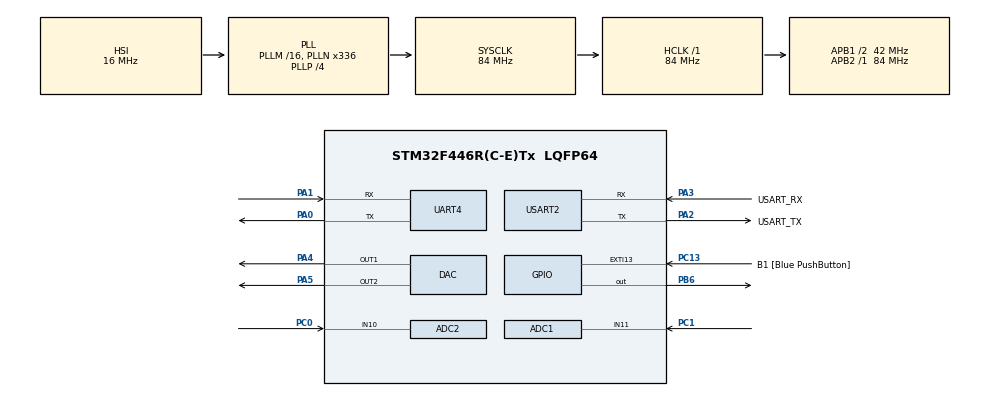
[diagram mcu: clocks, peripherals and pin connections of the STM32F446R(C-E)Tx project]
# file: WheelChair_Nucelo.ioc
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ADC1.Channel-1\#ChannelRegularConversion=ADC_CHANNEL_11
ADC1.NbrOfConversionFlag=1
ADC1.Rank-1\#ChannelRegularConversion=1
ADC1.SamplingTime-1\#ChannelRegularConversion=ADC_SAMPLETIME_3CYCLES
ADC1.master=1
ADC2.Channel-2\#ChannelRegularConversion=ADC_CHANNEL_10
ADC2.NbrOfConversionFlag=1
ADC2.Rank-2\#ChannelRegularConversion=1
ADC2.SamplingTime-2\#ChannelRegularConversion=ADC_SAMPLETIME_3CYCLES
Mcu.Family=STM32F4
Mcu.Name=STM32F446R(C-E)Tx
Mcu.Package=LQFP64
NVIC.PriorityGroup=NVIC_PRIORITYGROUP_4
NVIC.TIM6_DAC_IRQn=true\:0\:0\:false\:false\:true\:false\:true
NVIC.TimeBase=TIM6_DAC_IRQn
NVIC.TimeBaseIP=TIM6
PA0-WKUP.Mode=Asynchronous
PA0-WKUP.Signal=UART4_TX
PA1.Mode=Asynchronous
PA1.Signal=UART4_RX
PA13.GPIO_Label=TMS
PA13.Mode=Serial_Wire
PA13.Signal=SYS_JTMS-SWDIO
PA14.GPIO_Label=TCK
PA14.Mode=Serial_Wire
PA14.Signal=SYS_JTCK-SWCLK
PA2.GPIO_Label=USART_TX
PA2.Mode=Asynchronous
PA2.Signal=USART2_TX
PA3.GPIO_Label=USART_RX
PA3.Mode=Asynchronous
PA3.Signal=USART2_RX
PA4.Signal=COMP_DAC1_group
PA5.Signal=COMP_DAC2_group
PB3.GPIO_Label=SWO
PB3.Signal=SYS_JTDO-SWO
PB6.Signal=GPIO_Output
PC0.Signal=ADCx_IN10
PC1.Signal=ADCx_IN11
PC13.GPIO_Label=B1 [Blue PushButton]
PC13.GPIO_ModeDefaultEXTI=GPIO_MODE_IT_FALLING
PC13.Signal=GPXTI13
PC14-OSC32_IN.Mode=LSE-External-Oscillator
PC14-OSC32_IN.Signal=RCC_OSC32_IN
PC15-OSC32_OUT.Mode=LSE-External-Oscillator
PC15-OSC32_OUT.Signal=RCC_OSC32_OUT
PH0-OSC_IN.Mode=HSE-External-Oscillator
PH0-OSC_IN.Signal=RCC_OSC_IN
PH1-OSC_OUT.Mode=HSE-External-Oscillator
PH1-OSC_OUT.Signal=RCC_OSC_OUT
ProjectManager.HeapSize=0x200
ProjectManager.StackSize=0x400
ProjectManager.TargetToolchain=STM32CubeIDE
RCC.48MHZClocksFreq_Value=84000000
RCC.AHBFreq_Value=84000000
RCC.APB1CLKDivider=RCC_HCLK_DIV2
RCC.APB1Freq_Value=42000000
RCC.APB1TimFreq_Value=84000000
RCC.APB2Freq_Value=84000000
RCC.APB2TimFreq_Value=84000000
RCC.CortexFreq_Value=84000000
RCC.FLatency-AdvancedSettings=FLASH_LATENCY_2
RCC.HCLKFreq_Value=84000000
RCC.HSE_VALUE=8000000
RCC.HSI_VALUE=16000000
RCC.PLLN=336
RCC.PLLP=RCC_PLLP_DIV4
RCC.SYSCLKFreq_VALUE=84000000
RCC.SYSCLKSource=RCC_SYSCLKSOURCE_PLLCLK
RCC.USBFreq_Value=168000000
RCC.VCOOutputFreq_Value=336000000
SH.ADCx_IN10.0=ADC2_IN10,IN10
SH.ADCx_IN11.0=ADC1_IN11,IN11
SH.COMP_DAC1_group.0=DAC_OUT1,DAC_OUT1
SH.COMP_DAC2_group.0=DAC_OUT2,DAC_OUT2
UART4.VirtualMode=Asynchronous
USART2.VirtualMode=VM_ASYNC
VP_SYS_VS_tim6.Mode=TIM6
board=NUCLEO-F446RE

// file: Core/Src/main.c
/* USER CODE BEGIN Header */
/**
  ******************************************************************************
  * @file           : main.c
  * @brief          : Main program body
  ******************************************************************************
  * @attention
  *
  * <h2><center>&copy; Copyright (c) 2021 STMicroelectronics.
  * All rights reserved.</center></h2>
  *
  * This software component is licensed by ST under BSD 3-Clause license,
  * the "License"; You may not use this file except in compliance with the
  * License. You may obtain a copy of the License at:
  *                        opensource.org/licenses/BSD-3-Clause
  *
  ******************************************************************************
  */
/* USER CODE END Header */

#include "main.h"

/* USER CODE BEGIN Includes */
#include <stdio.h>
#include <stdint.h>
#include <string.h>
#include <stdbool.h>
/* USER CODE END Includes */

ADC_HandleTypeDef hadc1;
ADC_HandleTypeDef hadc2;

DAC_HandleTypeDef hdac;

UART_HandleTypeDef huart4;
UART_HandleTypeDef huart2;

/* USER CODE BEGIN PV */

// x value determines forward/reverse motion
float x_out=2.5;
// y value determines left/right motion
float y_out=2.5;

/* USER CODE END PV */

void SystemClock_Config(void);
static void MX_GPIO_Init(void);
static void MX_USART2_UART_Init(void);
static void MX_DAC_Init(void);
static void MX_UART4_Init(void);
static void MX_ADC1_Init(void);
static void MX_ADC2_Init(void);

/* USER CODE BEGIN 0 */
float map(float x, float in_min, float in_max, float out_min, float out_max) {
  return (x - in_min) * (out_max - out_min) / (in_max - in_min) + out_min;
}

uint16_t get_adc_value(ADC_HandleTypeDef adc){
	uint16_t adc_val;
	HAL_ADC_Start(&adc);
	HAL_ADC_PollForConversion(&adc, 20);
	adc_val = HAL_ADC_GetValue(&adc);
	return adc_val;
}

bool isManual(uint16_t x, uint16_t y)
{
	if((x>3400 || x<2900) || (y>3400 || y<2900))
		return true;
	else
		return false;
}

/* USER CODE END 0 */

int main(void)
{
  /* USER CODE BEGIN 1 */
	uint16_t x_d,y_d;

	uint8_t byte[6];
	char buff[100];
	uint8_t lin_vel;
	uint8_t ang_vel;
	int status;
  /* USER CODE END 1 */

  /* MCU Configuration--------------------------------------------------------*/

  /* Reset of all peripherals, Initializes the Flash interface and the Systick. */
  HAL_Init();

  /* Configure the system clock */
  SystemClock_Config();

  /* Initialize all configured peripherals */
  MX_GPIO_Init();
  MX_USART2_UART_Init();
  MX_DAC_Init();
  MX_UART4_Init();
  MX_ADC1_Init();
  MX_ADC2_Init();
  /* USER CODE BEGIN 2 */

  HAL_DAC_Start(&hdac, DAC_CHANNEL_1);
  HAL_DAC_Start(&hdac, DAC_CHANNEL_2);

  HAL_DACEx_DualSetValue(&hdac, DAC_ALIGN_12B_R, 2.5*(0xfff+1)/3.3, 2.5*(0xfff+1)/3.3);
  HAL_Delay(5000);

  /* USER CODE END 2 */

  /* Infinite loop */
  /* USER CODE BEGIN WHILE */
  while (1)
  {
	  static bool manual = false;
	  static bool cont = false;
	  static uint32_t transition_cnt=0;
	  x_d = get_adc_value(hadc2);
	  y_d = get_adc_value(hadc1);

	  sprintf(buff, "x_d = %u y_d = %u\r\n",x_d,y_d);
	  HAL_UART_Transmit(&huart2, (uint8_t *)buff, strlen(buff), HAL_MAX_DELAY);

	  if(!isManual(x_d,y_d))
	  {
		  if(manual)
		  {
			  if(++transition_cnt< 150)
				  cont=true;
			  else{
				  manual = false;
				  cont=false;
				  transition_cnt=0;
			  }
		  }
		  else{
			  status = HAL_UART_Receive(&huart4, byte, 6, 2000);

			  if(status==3){
				  lin_vel=10;
				  ang_vel=100;
			  }else{
				  for(int i=0;i<4;i++){
					  if(byte[i]==255){
						  lin_vel=byte[i+1];
						  ang_vel=byte[i+2];
						  break;
					  }
				  }
			  }

			  if(lin_vel<10){
				  x_out=2.1;
			  }else if(lin_vel==10){
				  x_out=2.5;
			  }else{
				  x_out = map((float)lin_vel,10,90,2.8,3);
			  }

			  if(ang_vel==100){
				  y_out=2.5;
			  }else if(ang_vel<100){
				  y_out = map((float)ang_vel,0,99,1.9,2.2);
			  }else if(ang_vel>100){
				  y_out = map((float)ang_vel,101,200,2.8,3.3);
			  }
		  }
	  }

	  if(isManual(x_d,y_d) || cont){
		 if(!cont)
			 transition_cnt = 0;

		  manual = true;
		  if(x_d<2900){
			  x_out=2.1;
		  }else if(x_d>3400){
			  x_out=map((float)x_d,3401,4096,2.8,3);
		  }else{
			  x_out = 2.5;
		  }

		  if(y_d<2900){
			  y_out=map((float)y_d,1500,2899,1.9,2.2);
		  }else if(y_d>3400){
			  y_out = map((float)y_d,3401,4096,2.8,3.1);
		  }else{
			  y_out = 2.5;
		  }
	  }

	  int x_in = x_out*(0xfff+1)/3.3;
	  int y_in = y_out*(0xfff+1)/3.3;
	  HAL_DACEx_DualSetValue(&hdac, DAC_ALIGN_12B_R, x_in, y_in);

	  /* USER CODE END WHILE */

	  /* USER CODE BEGIN 3 */
	  //sprintf(buff, "Linear = %u Angular = %u\r\n",lin_vel,ang_vel);
	  //HAL_UART_Transmit(&huart2, (uint8_t *)buff, strlen(buff), HAL_MAX_DELAY);
	  HAL_Delay(50);
  }
  /* USER CODE END 3 */
}

void SystemClock_Config(void)
{
  RCC_OscInitTypeDef RCC_OscInitStruct = {0};
  RCC_ClkInitTypeDef RCC_ClkInitStruct = {0};

  /** Configure the main internal regulator output voltage
  */
  __HAL_RCC_PWR_CLK_ENABLE();
  __HAL_PWR_VOLTAGESCALING_CONFIG(PWR_REGULATOR_VOLTAGE_SCALE3);
  /** Initializes the CPU, AHB and APB busses clocks
  */
  RCC_OscInitStruct.OscillatorType = RCC_OSCILLATORTYPE_HSI;
  RCC_OscInitStruct.HSIState = RCC_HSI_ON;
  RCC_OscInitStruct.HSICalibrationValue = RCC_HSICALIBRATION_DEFAULT;
  RCC_OscInitStruct.PLL.PLLState = RCC_PLL_ON;
  RCC_OscInitStruct.PLL.PLLSource = RCC_PLLSOURCE_HSI;
  RCC_OscInitStruct.PLL.PLLM = 16;
  RCC_OscInitStruct.PLL.PLLN = 336;
  RCC_OscInitStruct.PLL.PLLP = RCC_PLLP_DIV4;
  RCC_OscInitStruct.PLL.PLLQ = 2;
  RCC_OscInitStruct.PLL.PLLR = 2;
  if (HAL_RCC_OscConfig(&RCC_OscInitStruct) != HAL_OK)
  {
    Error_Handler();
  }
  /** Initializes the CPU, AHB and APB busses clocks
  */
  RCC_ClkInitStruct.ClockType = RCC_CLOCKTYPE_HCLK|RCC_CLOCKTYPE_SYSCLK
                              |RCC_CLOCKTYPE_PCLK1|RCC_CLOCKTYPE_PCLK2;
  RCC_ClkInitStruct.SYSCLKSource = RCC_SYSCLKSOURCE_PLLCLK;
  RCC_ClkInitStruct.AHBCLKDivider = RCC_SYSCLK_DIV1;
  RCC_ClkInitStruct.APB1CLKDivider = RCC_HCLK_DIV2;
  RCC_ClkInitStruct.APB2CLKDivider = RCC_HCLK_DIV1;

  if (HAL_RCC_ClockConfig(&RCC_ClkInitStruct, FLASH_LATENCY_2) != HAL_OK)
  {
    Error_Handler();
  }
}

static void MX_ADC1_Init(void)
{

  ADC_ChannelConfTypeDef sConfig = {0};

  /** Configure the global features of the ADC (Clock, Resolution, Data Alignment and number of conversion)
  */
  hadc1.Instance = ADC1;
  hadc1.Init.ClockPrescaler = ADC_CLOCK_SYNC_PCLK_DIV4;
  hadc1.Init.Resolution = ADC_RESOLUTION_12B;
  hadc1.Init.ScanConvMode = DISABLE;
  hadc1.Init.ContinuousConvMode = DISABLE;
  hadc1.Init.DiscontinuousConvMode = DISABLE;
  hadc1.Init.ExternalTrigConvEdge = ADC_EXTERNALTRIGCONVEDGE_NONE;
  hadc1.Init.ExternalTrigConv = ADC_SOFTWARE_START;
  hadc1.Init.DataAlign = ADC_DATAALIGN_RIGHT;
  hadc1.Init.NbrOfConversion = 1;
  hadc1.Init.DMAContinuousRequests = DISABLE;
  hadc1.Init.EOCSelection = ADC_EOC_SINGLE_CONV;
  if (HAL_ADC_Init(&hadc1) != HAL_OK)
  {
    Error_Handler();
  }
  /** Configure for the selected ADC regular channel its corresponding rank in the sequencer and its sample time.
  */
  sConfig.Channel = ADC_CHANNEL_11;
  sConfig.Rank = 1;
  sConfig.SamplingTime = ADC_SAMPLETIME_3CYCLES;
  if (HAL_ADC_ConfigChannel(&hadc1, &sConfig) != HAL_OK)
  {
    Error_Handler();
  }

}

static void MX_ADC2_Init(void)
{

  ADC_ChannelConfTypeDef sConfig = {0};

  /** Configure the global features of the ADC (Clock, Resolution, Data Alignment and number of conversion)
  */
  hadc2.Instance = ADC2;
  hadc2.Init.ClockPrescaler = ADC_CLOCK_SYNC_PCLK_DIV4;
  hadc2.Init.Resolution = ADC_RESOLUTION_12B;
  hadc2.Init.ScanConvMode = DISABLE;
  hadc2.Init.ContinuousConvMode = DISABLE;
  hadc2.Init.DiscontinuousConvMode = DISABLE;
  hadc2.Init.ExternalTrigConvEdge = ADC_EXTERNALTRIGCONVEDGE_NONE;
  hadc2.Init.ExternalTrigConv = ADC_SOFTWARE_START;
  hadc2.Init.DataAlign = ADC_DATAALIGN_RIGHT;
  hadc2.Init.NbrOfConversion = 1;
  hadc2.Init.DMAContinuousRequests = DISABLE;
  hadc2.Init.EOCSelection = ADC_EOC_SINGLE_CONV;
  if (HAL_ADC_Init(&hadc2) != HAL_OK)
  {
    Error_Handler();
  }
  /** Configure for the selected ADC regular channel its corresponding rank in the sequencer and its sample time.
  */
  sConfig.Channel = ADC_CHANNEL_10;
  sConfig.Rank = 1;
  sConfig.SamplingTime = ADC_SAMPLETIME_3CYCLES;
  if (HAL_ADC_ConfigChannel(&hadc2, &sConfig) != HAL_OK)
  {
    Error_Handler();
  }

}

static void MX_DAC_Init(void)
{

  DAC_ChannelConfTypeDef sConfig = {0};

  /** DAC Initialization
  */
  hdac.Instance = DAC;
  if (HAL_DAC_Init(&hdac) != HAL_OK)
  {
    Error_Handler();
  }
  /** DAC channel OUT1 config
  */
  sConfig.DAC_Trigger = DAC_TRIGGER_NONE;
  sConfig.DAC_OutputBuffer = DAC_OUTPUTBUFFER_ENABLE;
  if (HAL_DAC_ConfigChannel(&hdac, &sConfig, DAC_CHANNEL_1) != HAL_OK)
  {
    Error_Handler();
  }
  /** DAC channel OUT2 config
  */
  if (HAL_DAC_ConfigChannel(&hdac, &sConfig, DAC_CHANNEL_2) != HAL_OK)
  {
    Error_Handler();
  }

}

static void MX_UART4_Init(void)
{

  huart4.Instance = UART4;
  huart4.Init.BaudRate = 115200;
  huart4.Init.WordLength = UART_WORDLENGTH_8B;
  huart4.Init.StopBits = UART_STOPBITS_1;
  huart4.Init.Parity = UART_PARITY_NONE;
  huart4.Init.Mode = UART_MODE_TX_RX;
  huart4.Init.HwFlowCtl = UART_HWCONTROL_NONE;
  huart4.Init.OverSampling = UART_OVERSAMPLING_16;
  if (HAL_UART_Init(&huart4) != HAL_OK)
  {
    Error_Handler();
  }

}

static void MX_USART2_UART_Init(void)
{

  huart2.Instance = USART2;
  huart2.Init.BaudRate = 115200;
  huart2.Init.WordLength = UART_WORDLENGTH_8B;
  huart2.Init.StopBits = UART_STOPBITS_1;
  huart2.Init.Parity = UART_PARITY_NONE;
  huart2.Init.Mode = UART_MODE_TX_RX;
  huart2.Init.HwFlowCtl = UART_HWCONTROL_NONE;
  huart2.Init.OverSampling = UART_OVERSAMPLING_16;
  if (HAL_UART_Init(&huart2) != HAL_OK)
  {
    Error_Handler();
  }

}

static void MX_GPIO_Init(void)
{
  GPIO_InitTypeDef GPIO_InitStruct = {0};

  /* GPIO Ports Clock Enable */
  __HAL_RCC_GPIOC_CLK_ENABLE();
  __HAL_RCC_GPIOH_CLK_ENABLE();
  __HAL_RCC_GPIOA_CLK_ENABLE();
  __HAL_RCC_GPIOB_CLK_ENABLE();

  /*Configure GPIO pin Output Level */
  HAL_GPIO_WritePin(GPIOB, GPIO_PIN_6, GPIO_PIN_RESET);

  /*Configure GPIO pin : B1_Pin */
  GPIO_InitStruct.Pin = B1_Pin;
  GPIO_InitStruct.Mode = GPIO_MODE_IT_FALLING;
  GPIO_InitStruct.Pull = GPIO_NOPULL;
  HAL_GPIO_Init(B1_GPIO_Port, &GPIO_InitStruct);

  /*Configure GPIO pin : PB6 */
  GPIO_InitStruct.Pin = GPIO_PIN_6;
  GPIO_InitStruct.Mode = GPIO_MODE_OUTPUT_PP;
  GPIO_InitStruct.Pull = GPIO_NOPULL;
  GPIO_InitStruct.Speed = GPIO_SPEED_FREQ_LOW;
  HAL_GPIO_Init(GPIOB, &GPIO_InitStruct);

}

 /**
  * @brief  Period elapsed callback in non blocking mode
  * @note   This function is called  when TIM6 interrupt took place, inside
  * HAL_TIM_IRQHandler(). It makes a direct call to HAL_IncTick() to increment
  * a global variable "uwTick" used as application time base.
  * @param  htim : TIM handle
  * @retval None
  */
void HAL_TIM_PeriodElapsedCallback(TIM_HandleTypeDef *htim)
{
  if (htim->Instance == TIM6) {
    HAL_IncTick();
  }
}

void Error_Handler(void)
{
}

/************************ (C) COPYRIGHT STMicroelectronics *****END OF FILE****/
